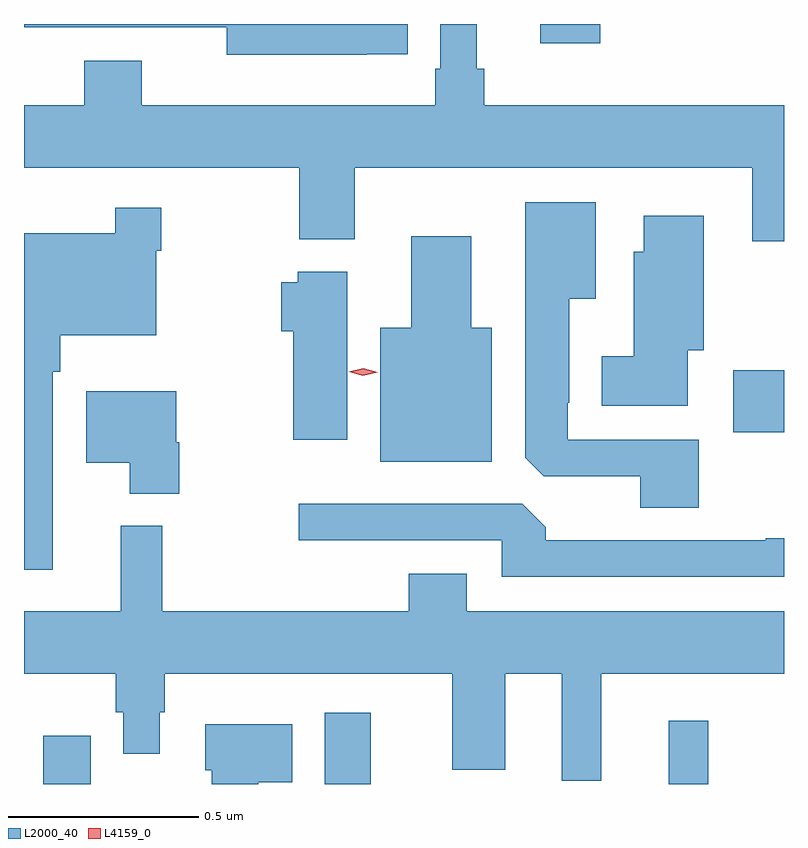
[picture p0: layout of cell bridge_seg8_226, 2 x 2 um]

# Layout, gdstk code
import gdstk
lib = gdstk.Library(unit=1e-6, precision=1e-09)
def R(c, l, rs):  # rectangles x0, y0, x1, y1
    for r in rs: c.add(gdstk.rectangle(r[:2], r[2:], *l))
def P(c, l, *ps):  # polygons
    for p in ps: c.add(gdstk.Polygon(p, *l))
L2000_40 = (2000, 40)
L4159_0 = (4159, 0)

bridge_seg8_226 = lib.new_cell('bridge_seg8_226')
R(bridge_seg8_226, L2000_40, [(126.291,1122.87,126.416,1122.997), (127.031,1122.87,127.153,1123.057), (127.937,1122.87,128.041,1123.036), (128.106,1123.796,128.24,1123.959), (127.598,1124.82,127.757,1124.87)])
P(bridge_seg8_226, L2000_40, [(127.142,1124.79),(127.25,1124.79),(127.25,1124.87),(126.24,1124.87),(126.24,1124.861),(126.314,1124.861),(126.314,1124.862),(126.774,1124.862),(126.774,1124.789),(127.142,1124.789)],
  [(128.24,1124.656),(127.451,1124.656),(127.451,1124.752),(127.432,1124.752),(127.432,1124.87),(127.335,1124.87),(127.335,1124.752),(127.322,1124.752),(127.322,1124.656),(126.55,1124.656),(126.55,1124.773),(126.398,1124.773),(126.398,1124.656),(126.24,1124.656),(126.24,1124.492),(126.964,1124.492),(126.964,1124.303),(127.111,1124.303),(127.111,1124.492),(128.156,1124.492),(128.156,1124.298),(128.24,1124.298)],
  [(128.015,1123.776),(127.671,1123.776),(127.671,1123.873),(127.675,1123.873),(127.675,1124.147),(127.744,1124.147),(127.744,1124.401),(127.559,1124.401),(127.559,1123.729),(127.608,1123.68),(127.862,1123.68),(127.862,1123.597),(128.015,1123.597)],
  [(126.315,1123.955),(126.335,1123.955),(126.335,1124.051),(126.588,1124.051),(126.588,1124.273),(126.601,1124.273),(126.601,1124.386),(126.48,1124.386),(126.48,1124.32),(126.24,1124.32),(126.24,1123.434),(126.315,1123.434)],
  [(127.987,1124.012),(128.029,1124.012),(128.029,1124.365),(127.871,1124.365),(127.871,1124.271),(127.844,1124.271),(127.844,1123.996),(127.76,1123.996),(127.76,1123.865),(127.987,1123.865)],
  [(127.471,1124.071),(127.417,1124.071),(127.417,1124.311),(127.259,1124.311),(127.259,1124.071),(127.178,1124.071),(127.178,1123.718),(127.471,1123.718)],
  [(127.09,1124.218),(126.96,1124.218),(126.96,1124.191),(126.917,1124.191),(126.917,1124.062),(126.949,1124.062),(126.949,1123.776),(127.09,1123.776)],
  [(126.648,1123.77),(126.64,1123.77),(126.64,1123.903),(126.404,1123.903),(126.404,1123.715),(126.518,1123.715),(126.518,1123.634),(126.648,1123.634)],
  [(128.24,1123.517),(128.192,1123.517),(128.192,1123.512),(127.613,1123.512),(127.613,1123.546),(127.551,1123.608),(126.963,1123.608),(126.963,1123.512),(127.497,1123.512),(127.497,1123.416),(128.24,1123.416)],
  [(127.759,1123.16),(128.24,1123.16),(128.24,1123.324),(127.405,1123.324),(127.405,1123.423),(127.253,1123.423),(127.253,1123.324),(126.604,1123.324),(126.604,1123.549),(126.494,1123.549),(126.494,1123.324),(126.24,1123.324),(126.24,1123.16),(126.481,1123.16),(126.481,1123.059),(126.501,1123.059),(126.501,1122.95),(126.597,1122.95),(126.597,1123.059),(126.61,1123.059),(126.61,1123.16),(127.367,1123.16),(127.367,1122.908),(127.507,1122.908),(127.507,1123.16),(127.655,1123.16),(127.655,1122.879),(127.759,1122.879)],
  [(126.856,1122.875),(126.946,1122.875),(126.946,1123.027),(126.717,1123.027),(126.717,1122.906),(126.734,1122.906),(126.734,1122.87),(126.856,1122.87)])
P(bridge_seg8_226, L4159_0, [(127.132,1123.944),(127.095,1123.955),(127.094,1123.955),(127.095,1123.955),(127.133,1123.964),(127.171,1123.953),(127.171,1123.953),(127.171,1123.953)])

lib.write_gds('bridge_seg8_226.gds')
